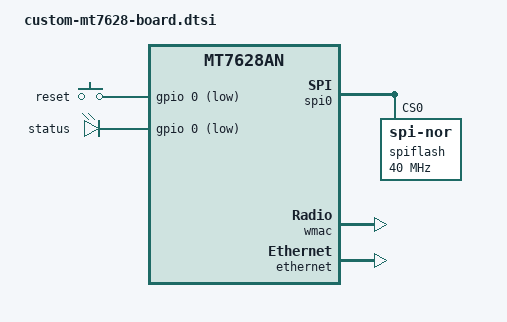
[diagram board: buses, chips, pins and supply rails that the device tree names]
// SPDX-License-Identifier: GPL-2.0-or-later
/*
 * SHARED device tree for a custom MediaTek MT7628AN board.
 *
 * Common hardware for both flash-capacity variants. The flash *partitions*
 * differ per capacity and live in the thin per-variant .dts files:
 *   - custom-mt7628-board-16m.dts   (16 MB SPI-NOR)
 *   - custom-mt7628-board-8m.dts    (8  MB SPI-NOR)
 * Each variant's partition table MUST stay in sync with the matching layout in
 * src/flash_layout.py (MT7628_16M_LAYOUT / MT7628_8M_LAYOUT).
 *
 *   SoC:   MT7628AN (MIPS 24KEc, little-endian)
 *   RAM:   16-bit DDR2, 128 MB   (DDR init lives in U-Boot / MediaTek BSP —
 *                                 OUT OF IMAGE SCOPE)
 *   WiFi:  built-in 2.4 GHz 802.11n (mt7603, calibration from "factory" MTD)
 *
 * SKELETON — fill in before a real build (marked TODO):
 *   - reset button GPIO pin
 *   - status LED GPIO pin
 *   - validate ethernet/switch port wiring against the schematic
 */

#include "mt7628a.dtsi"

#include <dt-bindings/gpio/gpio.h>
#include <dt-bindings/input/input.h>

/ {
	compatible = "custom,mt7628-board", "ralink,mt7628an-soc";

	chosen {
		/* squashfs root comes from the "rootfs" MTD partition; the writable
		 * jffs2 overlay ("overlay" partition) is mounted by early userspace
		 * init (not via bootargs). */
		bootargs = "console=ttyS0,115200";
	};

	aliases {
		led-boot = &led_status;
		led-running = &led_status;
	};

	/* ---- GPIO placeholders (edit one line per pin) ---- */
	keys {
		compatible = "gpio-keys";

		reset {
			label = "reset";
			/* TODO: set real reset-button pin from EasyEDA schematic */
			gpios = <&gpio 0 GPIO_ACTIVE_LOW>;   /* TODO pin */
			linux,code = <KEY_RESTART>;
		};
	};

	leds {
		compatible = "gpio-leds";

		led_status: status {
			label = "status";
			/* TODO: set real status-LED pin from EasyEDA schematic */
			gpios = <&gpio 0 GPIO_ACTIVE_LOW>;   /* TODO pin */
		};
	};
};

&spi0 {
	status = "okay";

	/* Flash chip common bits; the per-variant .dts adds &spiflash partitions. */
	spiflash: flash@0 {
		compatible = "jedec,spi-nor";
		reg = <0>;
		spi-max-frequency = <40000000>;
	};
};

/* built-in 2.4 GHz WiFi (mt7603); calibration EEPROM from "factory" MTD @ 0x0.
 * mediatek,mtd-eeprom is the widely-compatible form; nvmem-cells = <&eeprom_factory_0>
 * is the newer alternative. &factory is labelled in the per-variant partitions. */
&wmac {
	status = "okay";
	mediatek,mtd-eeprom = <&factory 0x0000>;
};

/* ethernet / built-in switch — enable and validate port wiring (TODO). */
&ethernet {
	status = "okay";
	/* TODO: confirm LAN/WAN port split + phy-mode against schematic */
};
